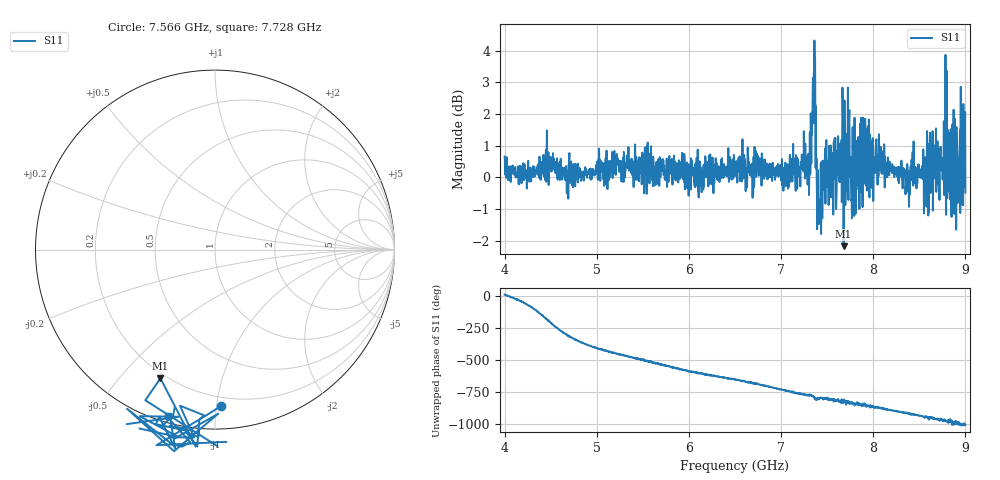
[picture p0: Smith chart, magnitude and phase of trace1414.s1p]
! Created with skrf 1.8.0 (http://scikit-rf.org).
# Hz S RI R 50.0
!freq ReS11 ImS11
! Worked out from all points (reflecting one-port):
!   1601 points, 4 GHz to 9 GHz, reference 50 ohm
!   lowest |S11| = -2.2 dB at 7.678 GHz (marker M1), VSWR 8.05, Z = 8.87 - j32.4 ohm
!   phase of S11 starts at 14 deg and turns -1024 deg over the sweep
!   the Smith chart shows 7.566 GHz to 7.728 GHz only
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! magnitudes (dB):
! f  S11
! 4 GHz  0.7
! 4.134 GHz  0.1
! 4.625 GHz  -0.1
! 5.25 GHz  0.5
! 5.875 GHz  0.0
! 6.5 GHz  0.5
! 7.125 GHz  0.4
! 7.294 GHz  0.2
! 7.347 GHz  3.1
! 7.362 GHz  4.3
! 7.397 GHz  -1.1
! 7.412 GHz  -1.1
! 7.481 GHz  -0.8
! 7.619 GHz  1.3
! 7.65 GHz  0.9
! 7.678 GHz  -2.2
! 7.75 GHz  0.5
! 7.784 GHz  -0.6
! 7.928 GHz  0.8
! 7.981 GHz  -0.3
! 8.05 GHz  0.6
! 8.375 GHz  -0.4
! 8.431 GHz  0.4
! 8.622 GHz  -0.5
! 8.788 GHz  -0.4
! 8.856 GHz  -0.2
! 8.972 GHz  0.0
! 9 GHz  -0.5
